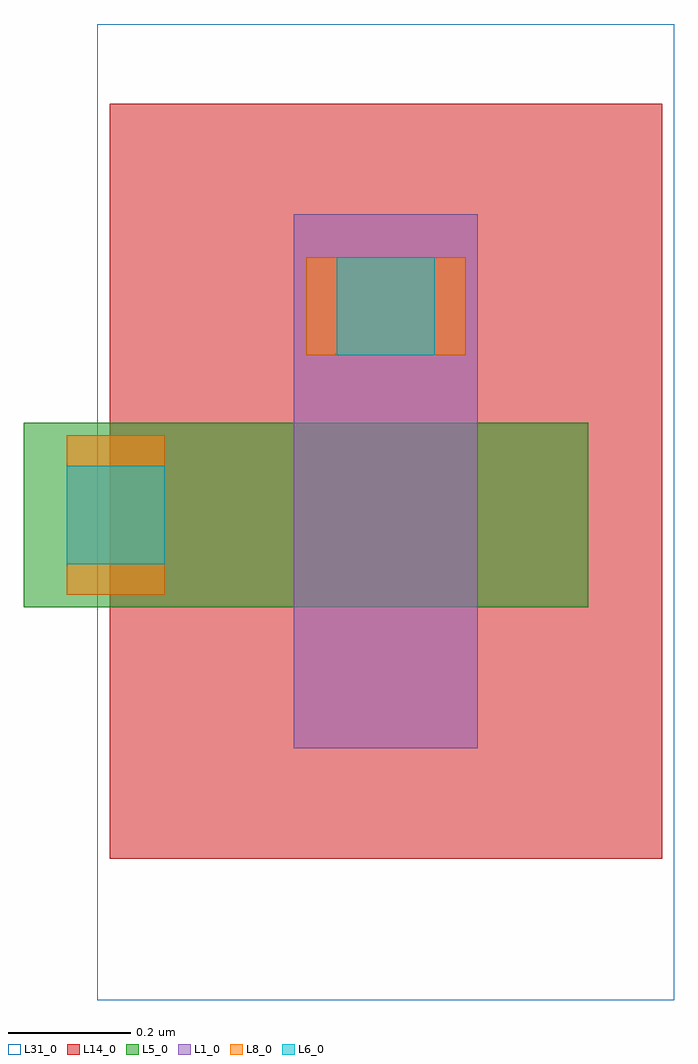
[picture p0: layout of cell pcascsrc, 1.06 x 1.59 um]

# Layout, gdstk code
import gdstk
lib = gdstk.Library(unit=1e-6, precision=1e-09)
def R(c, l, rs):  # rectangles x0, y0, x1, y1
    for r in rs: c.add(gdstk.rectangle(r[:2], r[2:], *l))
L1_0 = (1, 0)
L5_0 = (5, 0)
L6_0 = (6, 0)
L8_0 = (8, 0)
L14_0 = (14, 0)
L31_0 = (31, 0)

pcascsrc = lib.new_cell('pcascsrc')
R(pcascsrc, L1_0, [(0.29,-0.38,0.59,0.49)])
R(pcascsrc, L5_0, [(-0.15,-0.15,0.77,0.15)])
R(pcascsrc, L6_0, [(-0.08,-0.08,0.08,0.08), (0.36,0.26,0.52,0.42)])
R(pcascsrc, L8_0, [(-0.08,-0.13,0.08,0.13), (0.31,0.26,0.57,0.42)])
R(pcascsrc, L14_0, [(-0.01,-0.56,0.89,0.67)])
R(pcascsrc, L31_0, [(-0.03,-0.79,0.91,0.8)])

lib.write_gds('pcascsrc.gds')
